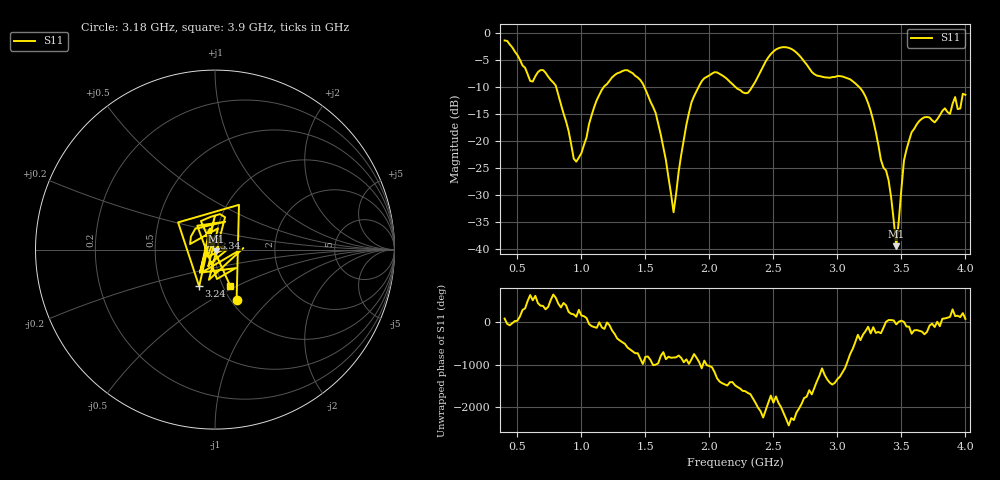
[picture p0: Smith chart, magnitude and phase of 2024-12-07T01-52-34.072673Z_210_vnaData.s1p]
!Created with skrf (http://scikit-rf.org).
# Hz S RI R 50.0
!freq ReS11 ImS11
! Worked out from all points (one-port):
!   181 points, 400 MHz to 4 GHz, reference 50 ohm
!   lowest |S11| = -39.5 dB at 3.46 GHz (marker M1), VSWR 1.02, Z = 50.6 - j0.916 ohm
!   |S11| at or under -10 dB: 802.1 MHz to 1.177 GHz (374.9 MHz wide, 37.9 % of centre); 1.491 GHz to 1.917 GHz (426.4 MHz wide, 25 % of centre); 3.167 GHz to end of sweep (the widest 3 of 4)
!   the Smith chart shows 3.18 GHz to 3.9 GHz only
!   S11 on the Smith chart (normalised r, x): 3.18 GHz: 1.06, -0.66; 3.24 GHz: 0.78, -0.33; 3.34 GHz: 0.98, +0.13; 3.9 GHz: 1.08, -0.46
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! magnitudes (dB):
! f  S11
! 400 MHz  -1.5
! 600 MHz  -8.9
! 720 MHz  -7.4
! 860 MHz  -14.9
! 960 MHz  -23.8
! 1.12 GHz  -12.5
! 1.3 GHz  -7.4
! 1.46 GHz  -8.8
! 1.58 GHz  -14.8
! 1.72 GHz  -33.2
! 1.76 GHz  -25.7
! 1.86 GHz  -12.9
! 1.94 GHz  -9.0
! 2.2 GHz  -10.0
! 2.3 GHz  -11.2
! 2.5 GHz  -3.5
! 2.66 GHz  -3.3
! 2.84 GHz  -8.0
! 3.1 GHz  -8.6
! 3.18 GHz  -10.3
! 3.24 GHz  -13.0
! 3.34 GHz  -23.5
! 3.4 GHz  -27.3
! 3.46 GHz  -39.5
! 3.52 GHz  -23.6
! 3.56 GHz  -19.9
! 3.9 GHz  -13.2
! 4 GHz  -11.5
